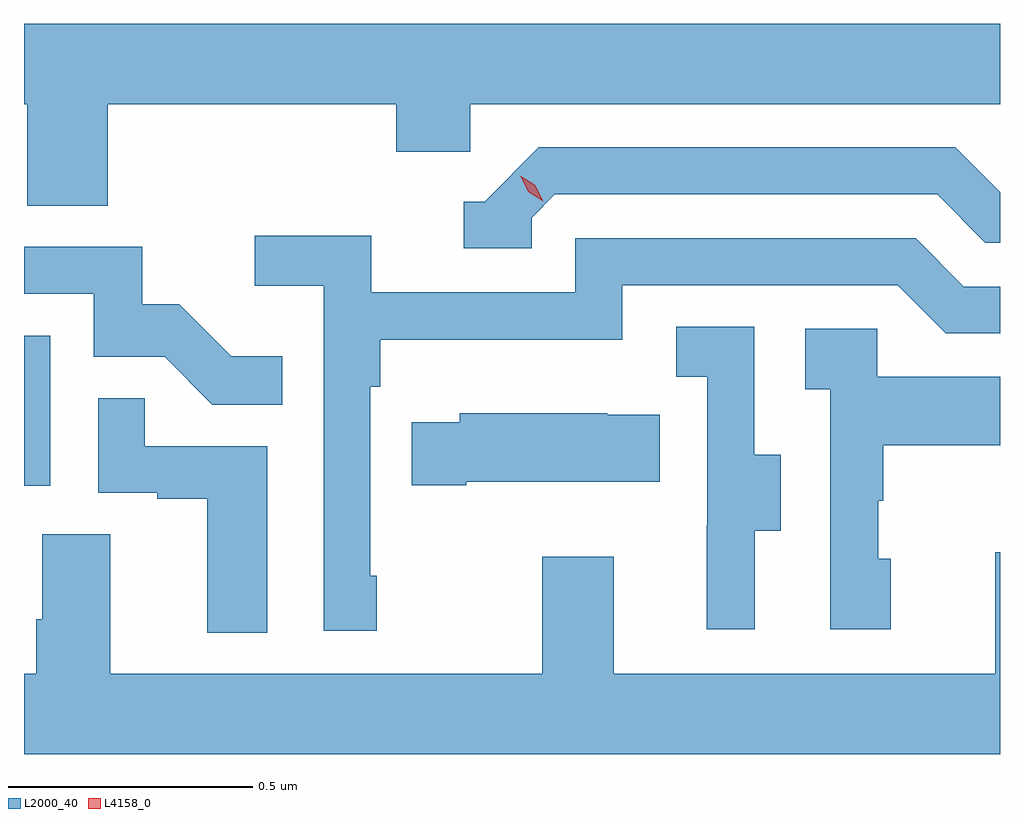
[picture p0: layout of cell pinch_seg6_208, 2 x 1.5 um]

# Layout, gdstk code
import gdstk
lib = gdstk.Library(unit=1e-6, precision=1e-09)
def R(c, l, rs):  # rectangles x0, y0, x1, y1
    for r in rs: c.add(gdstk.rectangle(r[:2], r[2:], *l))
def P(c, l, *ps):  # polygons
    for p in ps: c.add(gdstk.Polygon(p, *l))
L2000_40 = (2000, 40)
L4158_0 = (4158, 0)

pinch_seg6_208 = lib.new_cell('pinch_seg6_208')
R(pinch_seg6_208, L2000_40, [(1065.862,918.582,1065.916,918.889)])
P(pinch_seg6_208, L2000_40, [(1066.034,919.364),(1066.625,919.364),(1066.625,919.266),(1066.776,919.266),(1066.776,919.364),(1067.862,919.364),(1067.862,919.528),(1065.862,919.528),(1065.862,919.364),(1065.869,919.364),(1065.869,919.156),(1066.034,919.156)],
  [(1066.902,919.131),(1066.95,919.179),(1067.733,919.179),(1067.832,919.08),(1067.862,919.08),(1067.862,919.183),(1067.77,919.275),(1066.917,919.275),(1066.806,919.164),(1066.763,919.164),(1066.763,919.068),(1066.902,919.068)],
  [(1066.585,918.397),(1066.572,918.397),(1066.572,918.785),(1066.592,918.785),(1066.592,918.881),(1067.088,918.881),(1067.088,918.993),(1067.652,918.993),(1067.751,918.894),(1067.862,918.894),(1067.862,918.99),(1067.788,918.99),(1067.689,919.089),(1066.992,919.089),(1066.992,918.978),(1066.574,918.978),(1066.574,919.094),(1066.335,919.094),(1066.335,918.992),(1066.476,918.992),(1066.476,918.285),(1066.585,918.285)],
  [(1066.391,918.847),(1066.287,918.847),(1066.18,918.954),(1066.104,918.954),(1066.104,919.071),(1065.862,919.071),(1065.862,918.975),(1066.005,918.975),(1066.005,918.846),(1066.15,918.846),(1066.248,918.748),(1066.391,918.748)],
  [(1067.359,918.49),(1067.413,918.49),(1067.413,918.645),(1067.358,918.645),(1067.358,918.908),(1067.199,918.908),(1067.199,918.805),(1067.262,918.805),(1067.262,918.501),(1067.261,918.501),(1067.261,918.288),(1067.359,918.288)],
  [(1067.638,918.432),(1067.613,918.432),(1067.613,918.551),(1067.623,918.551),(1067.623,918.665),(1067.862,918.665),(1067.862,918.805),(1067.61,918.805),(1067.61,918.903),(1067.463,918.903),(1067.463,918.779),(1067.514,918.779),(1067.514,918.288),(1067.638,918.288)],
  [(1066.36,918.663),(1066.109,918.663),(1066.109,918.761),(1066.014,918.761),(1066.014,918.567),(1066.135,918.567),(1066.135,918.555),(1066.238,918.555),(1066.238,918.281),(1066.36,918.281)],
  [(1066.768,918.59),(1067.165,918.59),(1067.165,918.727),(1067.057,918.727),(1067.057,918.73),(1066.755,918.73),(1066.755,918.712),(1066.657,918.712),(1066.657,918.583),(1066.768,918.583)],
  [(1067.862,918.445),(1067.852,918.445),(1067.852,918.196),(1067.071,918.196),(1067.071,918.436),(1066.924,918.436),(1066.924,918.196),(1066.039,918.196),(1066.039,918.482),(1065.899,918.482),(1065.899,918.308),(1065.887,918.308),(1065.887,918.196),(1065.862,918.196),(1065.862,918.032),(1067.862,918.032)])
P(pinch_seg6_208, L4158_0, [(1066.926,919.165),(1066.895,919.184),(1066.879,919.217),(1066.879,919.217),(1066.879,919.217),(1066.91,919.198),(1066.926,919.165),(1066.926,919.165)])

lib.write_gds('pinch_seg6_208.gds')
